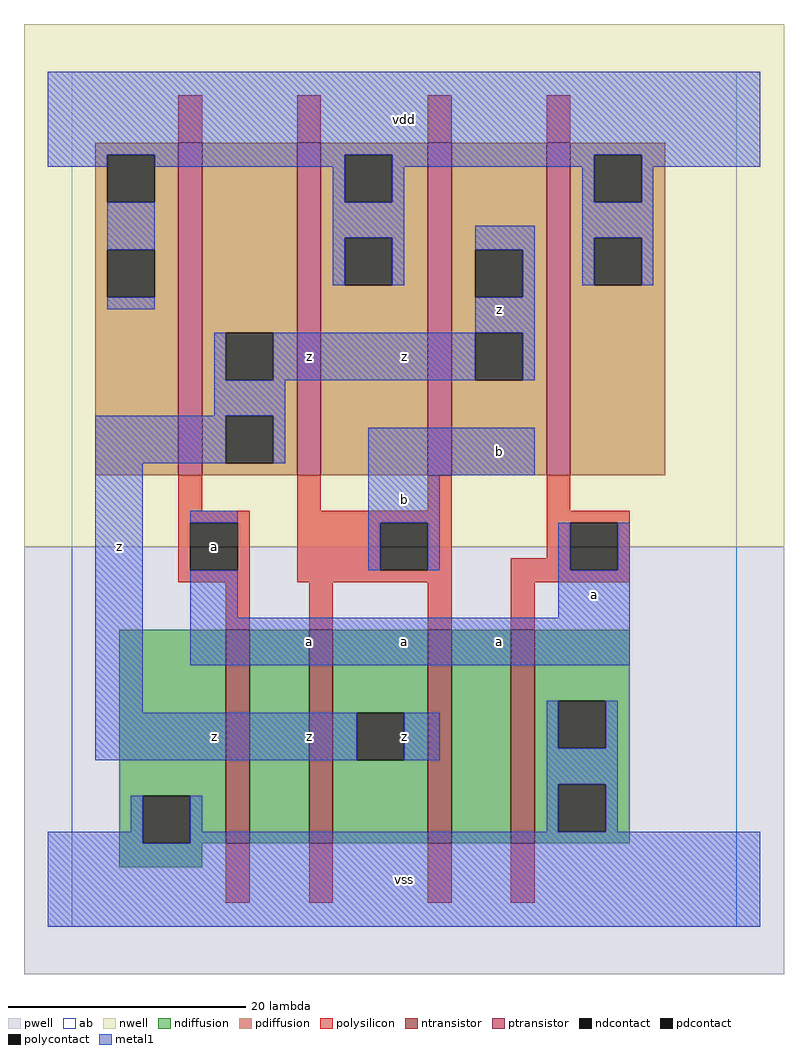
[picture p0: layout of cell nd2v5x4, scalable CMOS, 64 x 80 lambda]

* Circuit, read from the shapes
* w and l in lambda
.subckt nd2v5x4 a b vdd vss z
M1 n1 a vss VSUBS nfet w=18 l=2
M2 z b n1 VSUBS nfet w=18 l=2
M3 n2 b z VSUBS nfet w=18 l=2
M4 vss a n2 VSUBS nfet w=18 l=2
M5 z a vdd n3 pfet w=28 l=2 m=2
M6 vdd b z n3 pfet w=28 l=2 m=2
.ends

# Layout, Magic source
magic
tech scmos
<< ab >>
rect 0 0 56 72
<< pwell >>
rect -4 -4 60 32
<< nwell >>
rect -4 32 60 76
<< polysilicon >>
rect 9 66 11 70
rect 19 66 21 70
rect 30 66 32 70
rect 40 66 42 70
rect 9 35 11 38
rect 19 35 21 38
rect 30 35 32 38
rect 9 34 15 35
rect 9 30 10 34
rect 14 30 15 34
rect 9 29 15 30
rect 19 34 32 35
rect 19 30 26 34
rect 30 30 32 34
rect 40 35 42 38
rect 40 34 47 35
rect 40 31 42 34
rect 19 29 32 30
rect 13 25 15 29
rect 20 25 22 29
rect 30 25 32 29
rect 37 30 42 31
rect 46 30 47 34
rect 37 29 47 30
rect 37 25 39 29
rect 13 2 15 7
rect 20 2 22 7
rect 30 2 32 7
rect 37 2 39 7
<< ndiffusion >>
rect 4 11 13 25
rect 4 7 6 11
rect 10 7 13 11
rect 15 7 20 25
rect 22 18 30 25
rect 22 14 24 18
rect 28 14 30 18
rect 22 7 30 14
rect 32 7 37 25
rect 39 19 47 25
rect 39 15 41 19
rect 45 15 47 19
rect 39 12 47 15
rect 39 8 41 12
rect 45 8 47 12
rect 39 7 47 8
rect 4 5 11 7
<< pdiffusion >>
rect 2 65 9 66
rect 2 61 3 65
rect 7 61 9 65
rect 2 57 9 61
rect 2 53 3 57
rect 7 53 9 57
rect 2 38 9 53
rect 11 50 19 66
rect 11 46 13 50
rect 17 46 19 50
rect 11 43 19 46
rect 11 39 13 43
rect 17 39 19 43
rect 11 38 19 39
rect 21 65 30 66
rect 21 61 23 65
rect 27 61 30 65
rect 21 58 30 61
rect 21 54 23 58
rect 27 54 30 58
rect 21 38 30 54
rect 32 57 40 66
rect 32 53 34 57
rect 38 53 40 57
rect 32 50 40 53
rect 32 46 34 50
rect 38 46 40 50
rect 32 38 40 46
rect 42 65 50 66
rect 42 61 44 65
rect 48 61 50 65
rect 42 58 50 61
rect 42 54 44 58
rect 48 54 50 58
rect 42 38 50 54
<< metal1 >>
rect -2 65 58 72
rect -2 64 3 65
rect 7 64 23 65
rect 3 57 7 61
rect 22 61 23 64
rect 27 64 44 65
rect 27 61 28 64
rect 22 58 28 61
rect 43 61 44 64
rect 48 64 58 65
rect 48 61 49 64
rect 22 54 23 58
rect 27 54 28 58
rect 34 57 39 59
rect 3 52 7 53
rect 38 53 39 57
rect 43 58 49 61
rect 43 54 44 58
rect 48 54 49 58
rect 34 50 39 53
rect 12 46 13 50
rect 17 46 34 50
rect 38 46 39 50
rect 12 43 18 46
rect 2 39 13 43
rect 17 39 18 43
rect 2 18 6 39
rect 25 38 39 42
rect 10 34 14 35
rect 25 34 31 38
rect 25 30 26 34
rect 30 30 31 34
rect 41 30 42 34
rect 46 30 47 34
rect 10 26 14 30
rect 41 26 47 30
rect 10 22 47 26
rect 2 14 24 18
rect 28 14 31 18
rect 40 15 41 19
rect 45 15 46 19
rect 40 12 46 15
rect 5 8 6 11
rect -2 7 6 8
rect 10 8 11 11
rect 40 8 41 12
rect 45 8 46 12
rect 10 7 58 8
rect -2 0 58 7
<< ntransistor >>
rect 13 7 15 25
rect 20 7 22 25
rect 30 7 32 25
rect 37 7 39 25
<< ptransistor >>
rect 9 38 11 66
rect 19 38 21 66
rect 30 38 32 66
rect 40 38 42 66
<< polycontact >>
rect 10 30 14 34
rect 26 30 30 34
rect 42 30 46 34
<< ndcontact >>
rect 6 7 10 11
rect 24 14 28 18
rect 41 15 45 19
rect 41 8 45 12
<< pdcontact >>
rect 3 61 7 65
rect 3 53 7 57
rect 13 46 17 50
rect 13 39 17 43
rect 23 61 27 65
rect 23 54 27 58
rect 34 53 38 57
rect 34 46 38 50
rect 44 61 48 65
rect 44 54 48 58
<< labels >>
rlabel metal1 4 32 4 32 6 z
rlabel metal1 20 16 20 16 6 z
rlabel metal1 12 16 12 16 6 z
rlabel polycontact 12 32 12 32 6 a
rlabel metal1 20 24 20 24 6 a
rlabel metal1 20 48 20 48 6 z
rlabel metal1 28 4 28 4 6 vss
rlabel metal1 28 16 28 16 6 z
rlabel metal1 28 24 28 24 6 a
rlabel metal1 36 24 36 24 6 a
rlabel metal1 36 40 36 40 6 b
rlabel metal1 28 36 28 36 6 b
rlabel metal1 28 48 28 48 6 z
rlabel metal1 36 52 36 52 6 z
rlabel metal1 28 68 28 68 6 vdd
rlabel metal1 44 28 44 28 6 a
<< end >>
